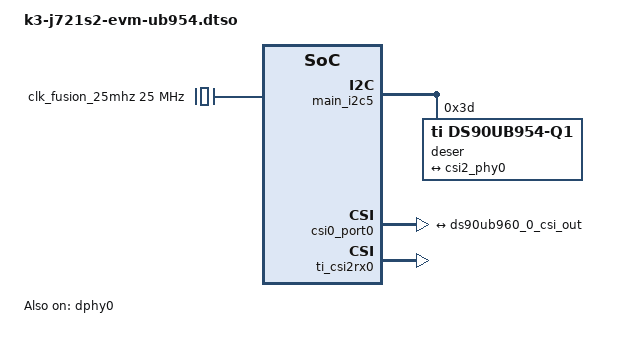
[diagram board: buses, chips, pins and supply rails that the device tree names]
// SPDX-License-Identifier: GPL-2.0-only OR MIT
/*
 * DT Overlay for DS90UB954-Q1EVM FPDLink-III deserializer board on J721S2, J784S4 and J742S2 EVM
 * https://www.ti.com/tool/DS90UB954-Q1EVM
 *
 * Copyright (C) 2026 Texas Instruments Incorporated - https://www.ti.com/
 */

/dts-v1/;
/plugin/;

&{/} {
	clk_fusion_25mhz: clock-25000000 {
		compatible = "fixed-clock";
		#clock-cells = <0>;
		clock-frequency = <25000000>;
	};
};

&main_i2c5 {
	#address-cells = <1>;
	#size-cells = <0>;
	status = "okay";

	deser@3d {
		compatible = "ti,ds90ub954-q1";
		reg = <0x3d>;
		clock-names = "refclk";
		clocks = <&clk_fusion_25mhz>;
		i2c-alias-pool = <0x4a 0x4b 0x4c 0x4d 0x4e 0x4f>;

		deserializer_0_ports: ports {
			#address-cells = <1>;
			#size-cells = <0>;

			port@0 {
				reg = <0>;
				status = "disabled";
			};

			port@1 {
				reg = <1>;
				status = "disabled";
			};

			/* CSI-2 TX */
			port@2 {
				reg = <2>;
				ds90ub960_0_csi_out: endpoint {
					data-lanes = <1 2 3 4>;
					clock-lanes = <0>;
					link-frequencies = /bits/ 64 <800000000>;
					remote-endpoint = <&csi2_phy0>;
				};
			};
		};

		deserializer_0_links: links {
			#address-cells = <1>;
			#size-cells = <0>;
		};
	};
};

&csi0_port0 {
	status = "okay";

	csi2_phy0: endpoint {
		remote-endpoint = <&ds90ub960_0_csi_out>;
		bus-type = <4>; /* CSI2 DPHY */
		clock-lanes = <0>;
		data-lanes = <1 2 3 4>;
		link-frequencies = /bits/ 64 <800000000>;
	};
};

&ti_csi2rx0 {
	status = "okay";
};

&dphy0 {
	status = "okay";
};
